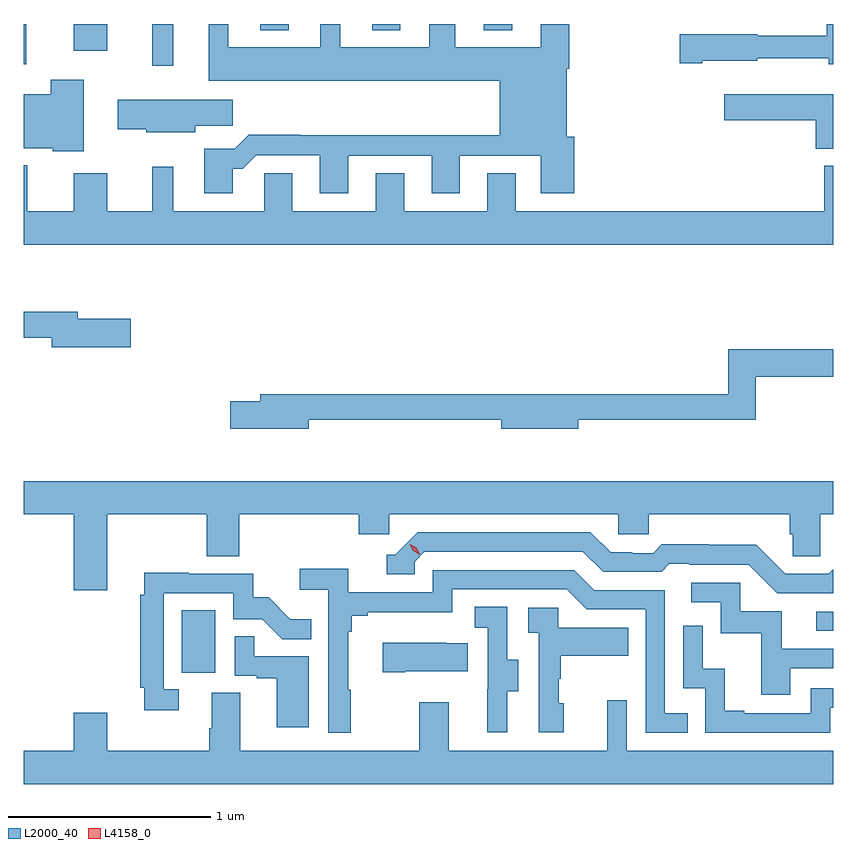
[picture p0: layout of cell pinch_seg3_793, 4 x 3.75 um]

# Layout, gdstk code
import gdstk
lib = gdstk.Library(unit=1e-6, precision=1e-09)
def R(c, l, rs):  # rectangles x0, y0, x1, y1
    for r in rs: c.add(gdstk.rectangle(r[:2], r[2:], *l))
def A(c, l, x, y, w, h, nx, ny, dx, dy):  # array of equal rectangles
    R(c, l, [(x+i*dx, y+j*dy, x+i*dx+w, y+j*dy+h) for i in range(nx) for j in range(ny)])
def P(c, l, *ps):  # polygons
    for p in ps: c.add(gdstk.Polygon(p, *l))
L2000_40 = (2000, 40)
L4158_0 = (4158, 0)

pinch_seg3_793 = lib.new_cell('pinch_seg3_793')
A(pinch_seg3_793, L2000_40, 849.245, 716.627, 0.14, 0.031, 3, 1, 0.552, 0)
R(pinch_seg3_793, L2000_40, [(848.858,713.454,849.022,713.761), (851.991,713.661,852.076,713.754), (848.711,716.451,848.815,716.658), (848.076,716.459,848.088,716.658), (848.324,716.526,848.488,716.658)])
P(pinch_seg3_793, L2000_40, [(849.109,715.943),(849.158,715.943),(849.225,716.01),(849.539,716.01),(849.539,715.821),(849.679,715.821),(849.679,716.007),(850.091,716.007),(850.091,715.821),(850.231,715.821),(850.231,716.007),(850.631,716.007),(850.631,715.821),(850.796,715.821),(850.796,716.1),(850.759,716.1),(850.759,716.438),(850.772,716.438),(850.772,716.658),(850.631,716.658),(850.631,716.542),(850.207,716.542),(850.207,716.658),(850.079,716.658),(850.079,716.542),(849.64,716.542),(849.64,716.658),(849.542,716.658),(849.542,716.542),(849.088,716.542),(849.088,716.658),(848.99,716.658),(848.99,716.378),(850.427,716.378),(850.427,716.108),(849.443,716.108),(849.443,716.111),(849.188,716.111),(849.118,716.041),(848.969,716.041),(848.969,715.821),(849.109,715.821)],
  [(852.076,716.658),(852.042,716.658),(852.042,716.599),(851.7,716.599),(851.7,716.607),(851.316,716.607),(851.316,716.465),(851.428,716.465),(851.428,716.477),(851.7,716.477),(851.7,716.489),(852.053,716.489),(852.053,716.459),(852.076,716.459)],
  [(848.374,716.383),(848.209,716.383),(848.209,716.311),(848.076,716.311),(848.076,716.045),(848.22,716.045),(848.22,716.03),(848.374,716.03)],
  [(852.076,716.311),(851.538,716.311),(851.538,716.182),(851.99,716.182),(851.99,716.042),(852.076,716.042)],
  [(848.925,716.155),(849.109,716.155),(849.109,716.284),(848.541,716.284),(848.541,716.137),(848.682,716.137),(848.682,716.123),(848.925,716.123)],
  [(852.076,715.957),(852.031,715.957),(852.031,715.732),(850.507,715.732),(850.507,715.922),(850.367,715.922),(850.367,715.732),(849.955,715.732),(849.955,715.922),(849.815,715.922),(849.815,715.732),(849.403,715.732),(849.403,715.922),(849.264,715.922),(849.264,715.732),(848.815,715.732),(848.815,715.954),(848.711,715.954),(848.711,715.732),(848.488,715.732),(848.488,715.921),(848.324,715.921),(848.324,715.732),(848.094,715.732),(848.094,715.96),(848.076,715.96),(848.076,715.568),(852.076,715.568)],
  [(848.605,715.203),(848.344,715.203),(848.344,715.237),(848.076,715.237),(848.076,715.108),(848.216,715.108),(848.216,715.061),(848.605,715.061)],
  [(849.484,714.702),(850.436,714.702),(850.436,714.659),(850.816,714.659),(850.816,714.702),(851.693,714.702),(851.693,714.916),(852.076,714.916),(852.076,715.052),(851.557,715.052),(851.557,714.83),(849.245,714.83),(849.245,714.794),(849.096,714.794),(849.096,714.659),(849.484,714.659)],
  [(848.488,714.236),(848.98,714.236),(848.98,714.028),(849.14,714.028),(849.14,714.236),(849.731,714.236),(849.731,714.138),(849.882,714.138),(849.882,714.236),(851.013,714.236),(851.013,714.138),(851.163,714.138),(851.163,714.236),(851.861,714.236),(851.861,714.138),(851.875,714.138),(851.875,714.028),(852.012,714.028),(852.012,714.236),(852.076,714.236),(852.076,714.4),(848.076,714.4),(848.076,714.236),(848.324,714.236),(848.324,713.862),(848.488,713.862)],
  [(852.076,713.965),(852.054,713.943),(851.838,713.943),(851.696,714.085),(851.46,714.085),(851.46,714.088),(851.227,714.088),(851.185,714.045),(851.082,714.045),(851.082,714.048),(850.975,714.048),(850.876,714.147),(850.023,714.147),(849.912,714.036),(849.869,714.036),(849.869,713.94),(850.008,713.94),(850.008,714.003),(850.056,714.051),(850.839,714.051),(850.938,713.952),(851.227,713.952),(851.266,713.991),(851.365,713.991),(851.365,713.988),(851.658,713.988),(851.799,713.847),(852.076,713.847)],
  [(849.691,713.369),(849.679,713.369),(849.679,713.657),(849.698,713.657),(849.698,713.734),(849.775,713.734),(849.775,713.753),(850.194,713.753),(850.194,713.865),(850.758,713.865),(850.857,713.766),(851.148,713.766),(851.148,713.157),(851.357,713.157),(851.357,713.253),(851.244,713.253),(851.244,713.862),(850.894,713.862),(850.795,713.961),(850.098,713.961),(850.098,713.85),(849.68,713.85),(849.68,713.966),(849.441,713.966),(849.441,713.864),(849.582,713.864),(849.582,713.157),(849.691,713.157)],
  [(848.842,713.373),(848.769,713.373),(848.769,713.847),(849.111,713.847),(849.111,713.718),(849.255,713.718),(849.353,713.62),(849.497,713.62),(849.497,713.719),(849.393,713.719),(849.286,713.826),(849.21,713.826),(849.21,713.943),(848.891,713.943),(848.891,713.948),(848.672,713.948),(848.672,713.84),(848.653,713.84),(848.653,713.38),(848.672,713.38),(848.672,713.268),(848.842,713.268)],
  [(851.863,713.475),(852.076,713.475),(852.076,713.571),(851.821,713.571),(851.821,713.757),(851.616,713.757),(851.616,713.898),(851.373,713.898),(851.373,713.802),(851.52,713.802),(851.52,713.649),(851.719,713.649),(851.719,713.346),(851.863,713.346)],
  [(850.465,713.362),(850.519,713.362),(850.519,713.517),(850.464,713.517),(850.464,713.78),(850.305,713.78),(850.305,713.677),(850.368,713.677),(850.368,713.373),(850.367,713.373),(850.367,713.16),(850.465,713.16)],
  [(850.744,713.304),(850.719,713.304),(850.719,713.423),(850.729,713.423),(850.729,713.537),(851.063,713.537),(851.063,713.677),(850.716,713.677),(850.716,713.775),(850.569,713.775),(850.569,713.651),(850.62,713.651),(850.62,713.16),(850.744,713.16)],
  [(852.06,713.28),(852.076,713.28),(852.076,713.376),(851.964,713.376),(851.964,713.253),(851.635,713.253),(851.635,713.266),(851.54,713.266),(851.54,713.474),(851.43,713.474),(851.43,713.686),(851.334,713.686),(851.334,713.376),(851.442,713.376),(851.442,713.157),(852.06,713.157)],
  [(849.484,713.535),(849.215,713.535),(849.215,713.633),(849.12,713.633),(849.12,713.439),(849.227,713.439),(849.227,713.427),(849.326,713.427),(849.326,713.184),(849.484,713.184)],
  [(849.961,713.462),(850.271,713.462),(850.271,713.599),(850.163,713.599),(850.163,713.602),(849.849,713.602),(849.849,713.455),(849.961,713.455)],
  [(852.076,713.068),(851.055,713.068),(851.055,713.317),(850.958,713.317),(850.958,713.068),(850.177,713.068),(850.177,713.308),(850.03,713.308),(850.03,713.068),(849.145,713.068),(849.145,713.354),(849.005,713.354),(849.005,713.18),(848.993,713.18),(848.993,713.068),(848.488,713.068),(848.488,713.257),(848.324,713.257),(848.324,713.068),(848.076,713.068),(848.076,712.904),(852.076,712.904)])
P(pinch_seg3_793, L4158_0, [(850.032,714.037),(850.001,714.056),(849.984,714.089),(849.984,714.089),(849.985,714.089),(850.016,714.07),(850.033,714.038),(850.033,714.037)])

lib.write_gds('pinch_seg3_793.gds')
